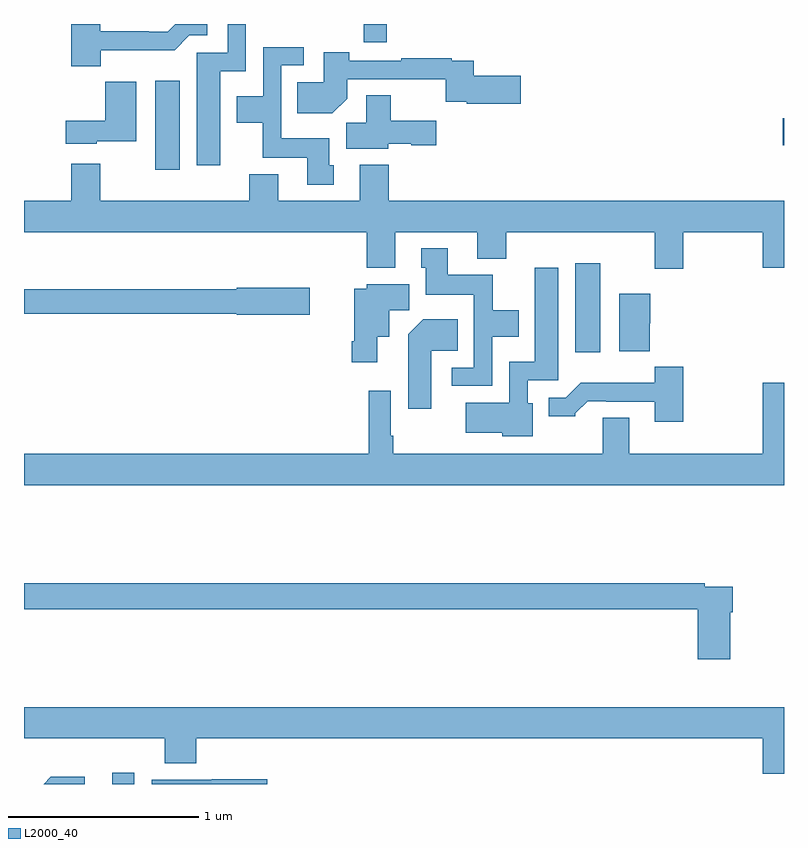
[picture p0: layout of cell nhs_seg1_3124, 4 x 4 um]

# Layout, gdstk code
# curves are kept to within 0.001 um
import gdstk
lib = gdstk.Library(unit=1e-6, precision=1e-09)
def R(c, l, rs):  # rectangles x0, y0, x1, y1
    for r in rs: c.add(gdstk.rectangle(r[:2], r[2:], *l))
def P(c, l, *ps):  # polygons
    for p in ps: c.add(gdstk.Polygon(p, *l))
L2000_40 = (2000, 40)

nhs_seg1_3124 = lib.new_cell('nhs_seg1_3124')
R(nhs_seg1_3124, L2000_40, [(281.465,510.199,281.58,510.259), (283.901,512.472,284.032,512.941), (281.69,513.432,281.821,513.901), (284.994,513.562,285,513.704), (282.787,514.104,282.908,514.199)])
P(nhs_seg1_3124, L2000_40, [(281.404,514.062),(281.793,514.062),(281.871,514.14),(281.965,514.14),(281.965,514.199),(281.797,514.199),(281.756,514.158),(281.657,514.158),(281.657,514.161),(281.401,514.161),(281.401,514.199),(281.249,514.199),(281.249,513.977),(281.404,513.977)],
  [(282.034,513.95),(282.168,513.95),(282.168,514.199),(282.072,514.199),(282.072,514.047),(281.909,514.047),(281.909,513.456),(282.034,513.456)],
  [(282.631,513.456),(282.607,513.456),(282.607,513.598),(282.354,513.598),(282.354,513.981),(282.472,513.981),(282.472,514.077),(282.258,514.077),(282.258,513.82),(282.119,513.82),(282.119,513.68),(282.256,513.68),(282.256,513.494),(282.491,513.494),(282.491,513.354),(282.631,513.354)],
  [(282.7,513.806),(282.7,513.909),(283.219,513.908),(283.219,513.791),(283.33,513.791),(283.33,513.779),(283.615,513.779),(283.615,513.926),(283.367,513.926),(283.367,514.005),(283.25,514.005),(283.25,514.018),(282.985,514.018),(282.985,514.005),(282.713,514.005),(282.713,514.05),(282.578,514.05),(282.578,513.892),(282.439,513.892),(282.439,513.728),(282.622,513.728)],
  [(281.382,513.581),(281.59,513.581),(281.59,513.895),(281.428,513.895),(281.428,513.691),(281.22,513.691),(281.22,513.569),(281.382,513.569)],
  [(282.918,513.569),(283.038,513.569),(283.038,513.562),(283.171,513.562),(283.171,513.691),(282.93,513.691),(282.93,513.824),(282.8,513.824),(282.8,513.68),(282.695,513.68),(282.695,513.542),(282.918,513.542)],
  [(284.469,513.104),(284.888,513.104),(284.888,512.916),(285,512.916),(285,513.268),(282.92,513.268),(282.92,513.457),(282.767,513.457),(282.767,513.268),(282.337,513.268),(282.337,513.409),(282.185,513.409),(282.185,513.268),(281.401,513.268),(281.401,513.463),(281.249,513.463),(281.249,513.268),(281,513.268),(281,513.104),(282.803,513.104),(282.803,512.915),(282.955,512.915),(282.955,513.104),(283.385,513.104),(283.385,512.963),(283.538,512.963),(283.538,513.104),(284.321,513.104),(284.321,512.91),(284.469,512.91)],
  [(283.464,512.552),(283.603,512.552),(283.603,512.692),(283.467,512.692),(283.467,512.878),(283.231,512.878),(283.231,513.019),(283.091,513.019),(283.091,512.916),(283.115,512.916),(283.115,512.774),(283.368,512.774),(283.368,512.391),(283.251,512.391),(283.251,512.295),(283.464,512.295)],
  [(283.678,512.202),(283.65,512.202),(283.65,512.325),(283.813,512.325),(283.813,512.917),(283.688,512.917),(283.688,512.422),(283.554,512.422),(283.554,512.206),(283.326,512.206),(283.326,512.048),(283.518,512.048),(283.518,512.03),(283.678,512.03)],
  [(282.859,512.552),(282.922,512.552),(282.922,512.692),(283.027,512.692),(283.027,512.83),(282.804,512.83),(282.804,512.806),(282.737,512.806),(282.737,512.53),(282.725,512.53),(282.725,512.418),(282.859,512.418)],
  [(282.505,512.811),(282.12,512.811),(282.12,512.803),(281,512.803),(281,512.674),(282.12,512.674),(282.12,512.669),(282.505,512.669)],
  [(284.294,512.625),(284.296,512.625),(284.296,512.779),(284.132,512.779),(284.132,512.477),(284.294,512.477)],
  [(283.144,512.48),(283.283,512.48),(283.283,512.644),(283.1,512.644),(283.022,512.566),(283.022,512.175),(283.144,512.175)],
  [(284.469,512.395),(284.319,512.395),(284.319,512.311),(283.93,512.311),(283.851,512.232),(283.763,512.232),(283.763,512.135),(283.902,512.135),(283.902,512.15),(283.966,512.214),(284.065,512.214),(284.065,512.211),(284.321,512.211),(284.321,512.106),(284.469,512.106)],
  [(285,512.311),(284.888,512.311),(284.888,511.936),(284.185,511.936),(284.185,512.126),(284.045,512.126),(284.045,511.936),(282.943,511.936),(282.943,512.032),(282.93,512.032),(282.93,512.269),(282.814,512.269),(282.814,511.936),(281,511.936),(281,511.772),(285,511.772)],
  [(284.716,511.103),(284.729,511.103),(284.729,511.236),(284.582,511.236),(284.582,511.256),(281,511.256),(281,511.12),(284.546,511.12),(284.546,510.855),(284.716,510.855)],
  [(285,510.604),(281,510.604),(281,510.44),(281.741,510.44),(281.741,510.307),(281.906,510.307),(281.906,510.44),(284.888,510.44),(284.888,510.252),(285,510.252)],
  [(281.32,510.236),(281.141,510.236),(281.104,510.199),(281.32,510.199)],
  [(282.281,510.224),(281.989,510.224),(281.989,510.222),(281.673,510.222),(281.673,510.199),(282.281,510.199)])

lib.write_gds('nhs_seg1_3124.gds')
